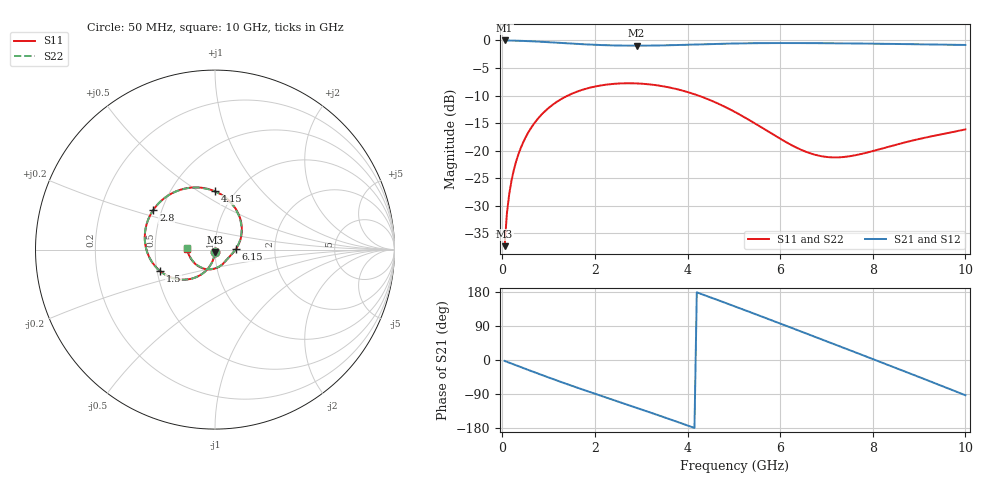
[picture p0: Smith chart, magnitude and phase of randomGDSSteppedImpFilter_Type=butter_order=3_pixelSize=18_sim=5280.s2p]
! freq	dB(S11)	phase(S11)	dB(S12)	phase(S12)
!  dB(S21)	phase(S21)	dB(S22)	phase(S22)
!S-par simulation data
#  GHz  S  DB  R 50
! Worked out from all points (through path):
!   200 points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, 50 MHz to 10 GHz, reference 50 ohm
!   highest |S21| = 0.00 dB at 50 MHz (marker M1); lowest = -1.0 dB at 2.9 GHz (marker M2)
!   group delay of S21, straight-line fit = 125 ps
!   lowest |S11| = -37.3 dB at 50 MHz (marker M3), VSWR 1.03, Z = 49.9 - j1.36 ohm
!   |S11| at or under -10 dB: start of sweep to 1.416 GHz; 4.233 GHz to end of sweep
!   |S22| runs from -37.3 to -7.8 dB; largest |S21 - S12| = 0
!   S11 on the Smith chart (normalised r, x): 50 MHz: 1.00, -0.03; 1.5 GHz: 0.52, -0.14; 2.8 GHz: 0.45, +0.24; 4.15 GHz: 0.81, +0.59; 6.15 GHz: 1.27, +0.01; 10 GHz: 0.73, +0.01
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0.05  -37.33 -92.4  -0.00 -2.4  -0.00 -2.4  -37.32 -92.4
0.1  -31.33 -95.0  -0.01 -4.8  -0.01 -4.8  -31.33 -95.0
0.2  -25.38 -99.8  -0.03 -9.4  -0.03 -9.4  -25.38 -99.8
0.45  -18.51 -111.5  -0.09 -21.1  -0.09 -21.1  -18.51 -111.5
0.9  -13.01 -132.2  -0.27 -41.7  -0.27 -41.7  -13.01 -132.1
1.5  -9.67 -158.7  -0.58 -68.0  -0.58 -68.0  -9.67 -158.5
1.75  -8.90 -169.3  -0.69 -78.6  -0.69 -78.6  -8.90 -169.2
2.25  -8.02 169.8  -0.87 -99.4  -0.87 -99.4  -8.01 170.0
2.8  -7.77 147.2  -0.95 -122.1  -0.95 -122.1  -7.77 147.5
2.9  -7.80 143.1  -0.95 -126.2  -0.95 -126.2  -7.80 143.4
3.4  -8.22 122.2  -0.91 -147.1  -0.91 -147.1  -8.21 122.6
4.15  -9.76 90.1  -0.74 -179.3  -0.74 -179.3  -9.76 90.7
4.6  -11.23 70.4  -0.63 160.6  -0.63 160.6  -11.23 71.0
5.05  -13.10 50.4  -0.55 140.2  -0.55 140.2  -13.09 51.2
5.6  -15.79 26.1  -0.49 114.8  -0.49 114.8  -15.79 27.0
6.15  -18.56 2.5  -0.47 89.3  -0.47 89.3  -18.55 3.4
6.7  -20.61 -20.4  -0.49 63.6  -0.49 63.6  -20.62 -19.8
7.55  -20.94 -57.1  -0.54 23.7  -0.54 23.7  -20.98 -57.6
8.35  -19.26 -95.4  -0.62 -14.0  -0.62 -14.0  -19.31 -96.7
8.8  -18.28 -118.1  -0.68 -35.4  -0.68 -35.4  -18.32 -119.6
9.25  -17.43 -141.5  -0.73 -56.8  -0.73 -56.8  -17.46 -143.1
10  -16.14 177.8  -0.82 -93.0  -0.82 -93.0  -16.14 176.4
